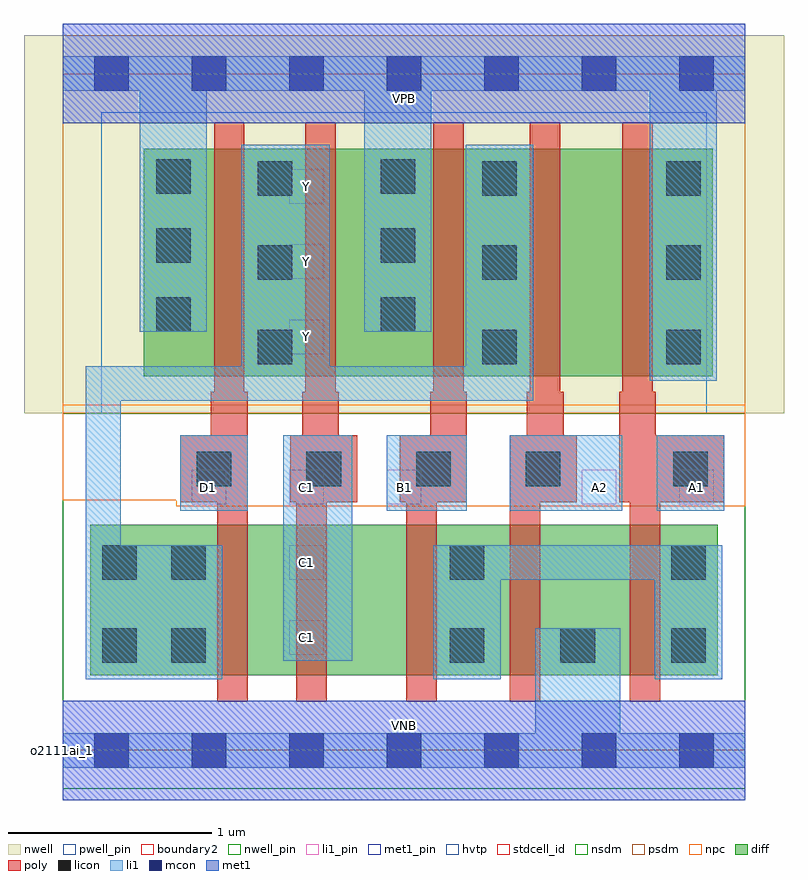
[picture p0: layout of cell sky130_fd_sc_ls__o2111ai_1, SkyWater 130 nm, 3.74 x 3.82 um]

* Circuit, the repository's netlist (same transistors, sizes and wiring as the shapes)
* Copyright 2020 The SkyWater PDK Authors
*
* Licensed under the Apache License, Version 2.0 (the "License");
* you may not use this file except in compliance with the License.
* You may obtain a copy of the License at
*
*     https://www.apache.org/licenses/LICENSE-2.0
*
* Unless required by applicable law or agreed to in writing, software
* distributed under the License is distributed on an "AS IS" BASIS,
* WITHOUT WARRANTIES OR CONDITIONS OF ANY KIND, either express or implied.
* See the License for the specific language governing permissions and
* limitations under the License.
*
* SPDX-License-Identifier: Apache-2.0

.SUBCKT sky130_fd_sc_ls__o2111ai_1 A1 A2 B1 C1 D1 VGND VNB VPB VPWR Y
*.PININFO A1:I A2:I B1:I C1:I D1:I VGND:I VNB:I VPB:I VPWR:I Y:O
MMPA0 VPWR A1 sndA1 VPB sky130_fd_pr__pfet_01v8_hvt m=1 w=1.12U l=0.15U mult=1
+ sa=0.265 sb=0.265 sd=0.28 area=0.063 perim=1.14
MMPA1 sndA1 A2 Y VPB sky130_fd_pr__pfet_01v8_hvt m=1 w=1.12U l=0.15U mult=1 sa=0.265
+ sb=0.265 sd=0.28 area=0.063 perim=1.14
MMPB0 VPWR B1 Y VPB sky130_fd_pr__pfet_01v8_hvt m=1 w=1.12U l=0.15U mult=1 sa=0.265
+ sb=0.265 sd=0.28 area=0.063 perim=1.14
MMPC0 VPWR C1 Y VPB sky130_fd_pr__pfet_01v8_hvt m=1 w=1.12U l=0.15U mult=1 sa=0.265
+ sb=0.265 sd=0.28 area=0.063 perim=1.14
MMPD0 VPWR D1 Y VPB sky130_fd_pr__pfet_01v8_hvt m=1 w=1.12U l=0.15U mult=1 sa=0.265
+ sb=0.265 sd=0.28 area=0.063 perim=1.14
MMNA0 pndA A1 VGND VNB sky130_fd_pr__nfet_01v8 m=1 w=0.74U l=0.15U mult=1 sa=0.265
+ sb=0.265 sd=0.28 area=0.063 perim=1.14
MMNA1 pndA A2 VGND VNB sky130_fd_pr__nfet_01v8 m=1 w=0.74U l=0.15U mult=1 sa=0.265
+ sb=0.265 sd=0.28 area=0.063 perim=1.14
MMNB0 pndB B1 pndA VNB sky130_fd_pr__nfet_01v8 m=1 w=0.74U l=0.15U mult=1 sa=0.265
+ sb=0.265 sd=0.28 area=0.063 perim=1.14
MMNC0 pndC C1 pndB VNB sky130_fd_pr__nfet_01v8 m=1 w=0.74U l=0.15U mult=1 sa=0.265
+ sb=0.265 sd=0.28 area=0.063 perim=1.14
MMND0 Y D1 pndC VNB sky130_fd_pr__nfet_01v8 m=1 w=0.74U l=0.15U mult=1 sa=0.265
+ sb=0.265 sd=0.28 area=0.063 perim=1.14
.ENDS sky130_fd_sc_ls__o2111ai_1

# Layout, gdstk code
import gdstk
lib = gdstk.Library(unit=1e-6, precision=1e-09)
def R(c, l, rs):  # rectangles x0, y0, x1, y1
    for r in rs: c.add(gdstk.rectangle(r[:2], r[2:], *l))
def A(c, l, x, y, w, h, nx, ny, dx, dy):  # array of equal rectangles
    R(c, l, [(x+i*dx, y+j*dy, x+i*dx+w, y+j*dy+h) for i in range(nx) for j in range(ny)])
def P(c, l, *ps):  # polygons
    for p in ps: c.add(gdstk.Polygon(p, *l))
nwell_pin = (64, 16)
nwell = (64, 20)
diff = (65, 20)
poly = (66, 20)
licon = (66, 44)
li1_pin = (67, 16)
li1 = (67, 20)
mcon = (67, 44)
met1_pin = (68, 16)
met1 = (68, 20)
hvtp = (78, 44)
stdcell_id = (81, 4)
nsdm = (93, 44)
psdm = (94, 20)
npc = (95, 20)
pwell_pin = (122, 16)
boundary2 = (236, 0)

sky130_fd_sc_ls__o2111ai = lib.new_cell('sky130_fd_sc_ls__o2111ai_1')
R(sky130_fd_sc_ls__o2111ai, nwell_pin, [(0,3.085,3.36,3.33)])
R(sky130_fd_sc_ls__o2111ai, nwell, [(-0.19,1.66,3.55,3.52)])
R(sky130_fd_sc_ls__o2111ai, diff, [(0.135,0.37,3.225,1.11), (0.4,1.84,3.2,2.96)])
P(sky130_fd_sc_ls__o2111ai, poly, [(0.91,1.765),(0.895,1.765),(0.895,3.09),(0.745,3.09),(0.745,1.765),(0.73,1.765),(0.73,1.55),(0.58,1.55),(0.58,1.22),(0.76,1.22),(0.76,0.24),(0.91,0.24)],
  [(1.45,1.55),(1.36,1.55),(1.36,1.765),(1.345,1.765),(1.345,3.09),(1.195,3.09),(1.195,1.765),(1.18,1.765),(1.18,1.55),(1.12,1.55),(1.12,1.22),(1.15,1.22),(1.15,0.24),(1.3,0.24),(1.3,1.22),(1.45,1.22)],
  [(1.99,1.765),(1.975,1.765),(1.975,3.09),(1.825,3.09),(1.825,1.765),(1.81,1.765),(1.81,1.55),(1.66,1.55),(1.66,1.22),(1.69,1.22),(1.69,0.24),(1.84,0.24),(1.84,1.22),(1.99,1.22)],
  [(2.53,1.55),(2.465,1.55),(2.465,1.765),(2.45,1.765),(2.45,3.09),(2.3,3.09),(2.3,1.765),(2.285,1.765),(2.285,1.55),(2.2,1.55),(2.2,0.24),(2.35,0.24),(2.35,1.22),(2.53,1.22)],
  [(3.255,1.55),(2.92,1.55),(2.92,1.765),(2.905,1.765),(2.905,3.09),(2.755,3.09),(2.755,1.765),(2.74,1.765),(2.74,1.22),(2.79,1.22),(2.79,0.24),(2.94,0.24),(2.94,1.22),(3.255,1.22)])
A(sky130_fd_sc_ls__o2111ai, licon, 1.905, 0.43, 0.17, 0.17, 3, 1, 0.545, 0)
A(sky130_fd_sc_ls__o2111ai, licon, 0.66, 1.3, 0.17, 0.17, 4, 1, 0.54, 0)
A(sky130_fd_sc_ls__o2111ai, licon, 0.96, 1.9, 0.17, 0.17, 1, 3, 0, 0.415)
A(sky130_fd_sc_ls__o2111ai, licon, 2.065, 1.9, 0.17, 0.17, 1, 3, 0, 0.415)
A(sky130_fd_sc_ls__o2111ai, licon, 2.97, 1.9, 0.17, 0.17, 1, 3, 0, 0.415)
A(sky130_fd_sc_ls__o2111ai, licon, 0.46, 2.06, 0.17, 0.17, 1, 3, 0, 0.34)
A(sky130_fd_sc_ls__o2111ai, licon, 1.565, 2.06, 0.17, 0.17, 1, 3, 0, 0.34)
R(sky130_fd_sc_ls__o2111ai, licon, [(0.195,0.43,0.365,0.6), (0.535,0.43,0.705,0.6), (0.195,0.84,0.365,1.01), (0.535,0.84,0.705,1.01), (1.905,0.84,2.075,1.01), (2.995,0.84,3.165,1.01), (3.005,1.3,3.175,1.47)])
A(sky130_fd_sc_ls__o2111ai, li1_pin, 0.635, 1.21, 0.17, 0.17, 3, 1, 0.48, 0)
A(sky130_fd_sc_ls__o2111ai, li1_pin, 1.115, 1.95, 0.17, 0.17, 1, 3, 0, 0.37)
R(sky130_fd_sc_ls__o2111ai, li1_pin, [(1.115,0.47,1.285,0.64), (1.115,0.84,1.285,1.01), (2.555,1.21,2.725,1.38), (3.035,1.21,3.205,1.38)])
R(sky130_fd_sc_ls__o2111ai, li1, [(1.085,0.44,1.425,1.55), (0.58,1.18,0.91,1.55), (1.595,1.18,1.99,1.55), (2.2,1.18,2.755,1.55), (2.925,1.18,3.255,1.55)])
P(sky130_fd_sc_ls__o2111ai, li1, [(0,3.245),(0,3.415),(3.36,3.415),(3.36,3.245),(3.22,3.245),(3.22,1.82),(2.89,1.82),(2.89,3.245),(1.815,3.245),(1.815,2.06),(1.485,2.06),(1.485,3.245),(0.71,3.245),(0.71,2.06),(0.38,2.06),(0.38,3.245)],
  [(0,-0.085),(0,0.085),(2.325,0.085),(2.325,0.6),(2.745,0.6),(2.745,0.085),(3.36,0.085),(3.36,-0.085)],
  [(1.315,1.89),(1.985,1.89),(1.985,2.98),(2.315,2.98),(2.315,1.72),(0.285,1.72),(0.285,1.01),(0.785,1.01),(0.785,0.35),(0.115,0.35),(0.115,1.89),(0.88,1.89),(0.88,2.98),(1.315,2.98)],
  [(2.915,0.84),(2.155,0.84),(2.155,0.35),(1.825,0.35),(1.825,1.01),(3.245,1.01),(3.245,0.35),(2.915,0.35)])
A(sky130_fd_sc_ls__o2111ai, mcon, 0.155, -0.085, 0.17, 0.17, 7, 2, 0.48, 3.33)
R(sky130_fd_sc_ls__o2111ai, met1_pin, [(0,0,3.36,0.245), (0,3.085,3.36,3.33)])
R(sky130_fd_sc_ls__o2111ai, met1, [(0,-0.245,3.36,0.245), (0,3.085,3.36,3.575)])
R(sky130_fd_sc_ls__o2111ai, hvtp, [(0.19,1.66,3.17,3.14)])
R(sky130_fd_sc_ls__o2111ai, stdcell_id, [(0,0,3.36,3.33)])
R(sky130_fd_sc_ls__o2111ai, nsdm, [(0,-0.19,3.36,1.66)])
R(sky130_fd_sc_ls__o2111ai, psdm, [(0,1.66,3.36,3.52)])
P(sky130_fd_sc_ls__o2111ai, npc, [(3.36,1.7),(0,1.7),(0,1.23),(0.56,1.23),(0.56,1.2),(3.36,1.2)])
R(sky130_fd_sc_ls__o2111ai, pwell_pin, [(0,0,3.36,0.245)])
R(sky130_fd_sc_ls__o2111ai, boundary2, [(0,0,3.36,3.33)])
sky130_fd_sc_ls__o2111ai.add(gdstk.Label('o2111ai_1', (0,0), layer=83, texttype=44))
sky130_fd_sc_ls__o2111ai.add(gdstk.Label('VNB', (1.68,0.123), layer=64, texttype=59))
sky130_fd_sc_ls__o2111ai.add(gdstk.Label('VPB', (1.68,3.208), layer=64, texttype=5))
sky130_fd_sc_ls__o2111ai.add(gdstk.Label('VPWR', (1.68,3.208), layer=68, texttype=5))
sky130_fd_sc_ls__o2111ai.add(gdstk.Label('VGND', (1.68,0.123), layer=68, texttype=5))
sky130_fd_sc_ls__o2111ai.add(gdstk.Label('Y', (1.2,2.035), layer=67, texttype=5))
sky130_fd_sc_ls__o2111ai.add(gdstk.Label('Y', (1.2,2.405), layer=67, texttype=5))
sky130_fd_sc_ls__o2111ai.add(gdstk.Label('Y', (1.2,2.775), layer=67, texttype=5))
sky130_fd_sc_ls__o2111ai.add(gdstk.Label('D1', (0.72,1.295), layer=67, texttype=5))
sky130_fd_sc_ls__o2111ai.add(gdstk.Label('C1', (1.2,0.555), layer=67, texttype=5))
sky130_fd_sc_ls__o2111ai.add(gdstk.Label('C1', (1.2,0.925), layer=67, texttype=5))
sky130_fd_sc_ls__o2111ai.add(gdstk.Label('C1', (1.2,1.295), layer=67, texttype=5))
sky130_fd_sc_ls__o2111ai.add(gdstk.Label('B1', (1.68,1.295), layer=67, texttype=5))
sky130_fd_sc_ls__o2111ai.add(gdstk.Label('A2', (2.64,1.295), layer=67, texttype=5))
sky130_fd_sc_ls__o2111ai.add(gdstk.Label('A1', (3.12,1.295), layer=67, texttype=5))

lib.write_gds('sky130_fd_sc_ls__o2111ai_1.gds')
